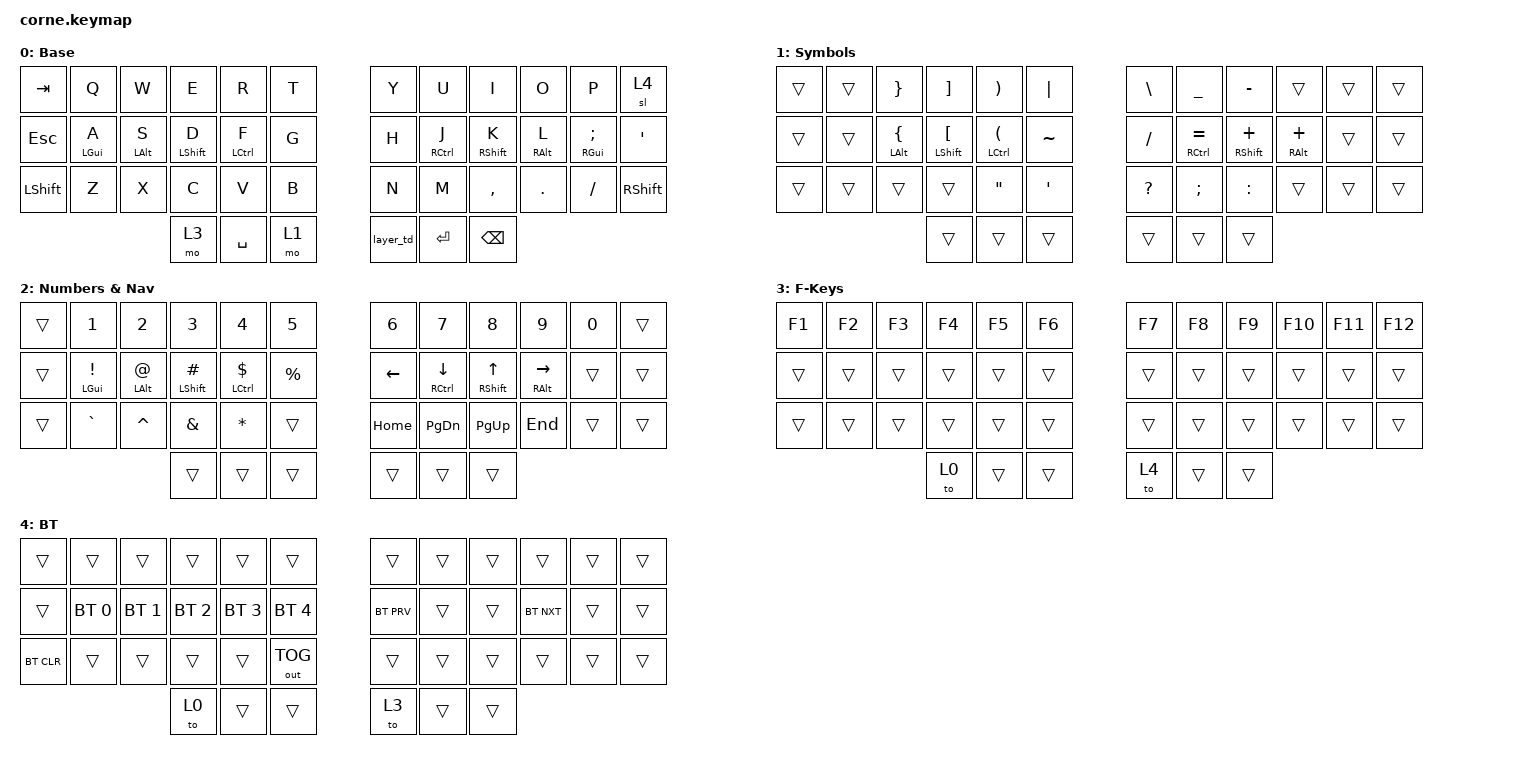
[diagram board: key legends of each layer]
/*
 * Copyright (c) 2020 The ZMK Contributors
 *
 * SPDX-License-Identifier: MIT
 */

#include <behaviors.dtsi>
#include <dt-bindings/zmk/bt.h>
#include <dt-bindings/zmk/keys.h>
#include <dt-bindings/zmk/outputs.h>

/ {
    behaviors {
        custom_tap_hold: custom_tap_hold {
            compatible = "zmk,behavior-hold-tap";
            label = "CUSTOM_TAP_HOLD";
            bindings = <&kp>, <&kp>;

            #binding-cells = <2>;
            flavor = "tap-preferred";
            tapping-term-ms = <250>;
            quick-tap-ms = <150>;
            require-prior-idle-ms = <200>;
            hold-trigger-on-release;
            hold-trigger-key-positions = <
                6 7 8 9 10 11    /* right-hand keys for left half */
                18 19 20 21 22 23 /* left-hand keys for right half */
            >;
        };

        layer_td: layer_td {
            compatible = "zmk,behavior-tap-dance";
            label = "LAYER_TAP_DANCE";
            #binding-cells = <0>;
            tapping-term-ms = <200>;
            bindings = <&mo 2>, <&tog 2>;
        };
    };

    keymap {
        compatible = "zmk,keymap";

        default_layer {
            display-name = "Base";
            bindings = <
&kp TAB     &kp Q           &kp W           &kp E             &kp R        &kp T    &kp Y      &kp U        &kp I              &kp O            &kp P               &sl 4
&kp ESCAPE  &custom_tap_hold LEFT_GUI A  &custom_tap_hold LEFT_ALT S  &custom_tap_hold LEFT_SHIFT D  &custom_tap_hold LCTRL F  &kp G    &kp H      &custom_tap_hold RCTRL J  &custom_tap_hold RIGHT_SHIFT K  &custom_tap_hold RIGHT_ALT L  &custom_tap_hold RIGHT_GUI SEMI  &kp SQT
&kp LSHFT   &kp Z           &kp X           &kp C             &kp V        &kp B    &kp N      &kp M        &kp COMMA          &kp DOT          &kp FSLH            &kp RSHFT
                                            &mo 3             &kp SPACE    &mo 1    &layer_td  &kp ENTER    &kp BACKSPACE
            >;
        };

        lower_layer {
            display-name = "Symbols";
            bindings = <
&trans  &trans  &kp RIGHT_BRACE          &kp RIGHT_BRACKET            &kp RIGHT_PARENTHESIS       &kp PIPE            &kp BACKSLASH  &kp UNDERSCORE   &kp MINUS             &trans              &trans  &trans
&trans  &trans  &custom_tap_hold LEFT_ALT LEFT_BRACE  &custom_tap_hold LEFT_SHIFT LEFT_BRACKET  &custom_tap_hold LCTRL LEFT_PARENTHESIS  &kp TILDE           &kp SLASH      &custom_tap_hold RCTRL EQUAL  &custom_tap_hold RIGHT_SHIFT PLUS  &custom_tap_hold RIGHT_ALT PLUS  &trans  &trans
&trans  &trans  &trans                   &trans                       &kp DOUBLE_QUOTES           &kp SINGLE_QUOTE    &kp QUESTION   &kp SEMICOLON    &kp COLON             &trans              &trans  &trans
                                         &trans                       &trans                      &trans              &trans         &trans           &trans
            >;
        };

        raise_layer {
            display-name = "Numbers & Nav";
            bindings = <
&trans  &kp N1                    &kp N2                &kp N3               &kp N4            &kp N5         &kp N6    &kp N7          &kp N8                    &kp N9               &kp N0  &trans
&trans  &custom_tap_hold LEFT_GUI EXCLAMATION  &custom_tap_hold LEFT_ALT AT_SIGN  &custom_tap_hold LEFT_SHIFT HASH  &custom_tap_hold LCTRL DOLLAR  &kp PERCENT    &kp LEFT  &custom_tap_hold RCTRL DOWN  &custom_tap_hold RIGHT_SHIFT UP_ARROW  &custom_tap_hold RIGHT_ALT RIGHT  &trans  &trans
&trans  &kp GRAVE                 &kp CARET             &kp AMPERSAND        &kp ASTERISK      &trans         &kp HOME  &kp PG_DN       &kp PG_UP                 &kp END              &trans  &trans
                                                        &trans               &trans            &trans         &trans    &trans          &trans
            >;
        };

        layer_3 {
            display-name = "F-Keys";
            bindings = <
&kp F1  &kp F2  &kp F3  &kp F4  &kp F5  &kp F6    &kp F7  &kp F8  &kp F9  &kp F10  &kp F11  &kp F12
&trans  &trans  &trans  &trans  &trans  &trans    &trans  &trans  &trans  &trans   &trans   &trans
&trans  &trans  &trans  &trans  &trans  &trans    &trans  &trans  &trans  &trans   &trans   &trans
                        &to 0   &trans  &trans    &to 4   &trans  &trans
            >;
        };

        layer_4 {
            display-name = "BT";
            bindings = <
&trans      &trans        &trans        &trans        &trans        &trans          &trans      &trans  &trans  &trans      &trans  &trans
&trans      &bt BT_SEL 0  &bt BT_SEL 1  &bt BT_SEL 2  &bt BT_SEL 3  &bt BT_SEL 4    &bt BT_PRV  &trans  &trans  &bt BT_NXT  &trans  &trans
&bt BT_CLR  &trans        &trans        &trans        &trans        &out OUT_TOG    &trans      &trans  &trans  &trans      &trans  &trans
                                        &to 0         &trans        &trans          &to 3       &trans  &trans
            >;
        };
    };
};
